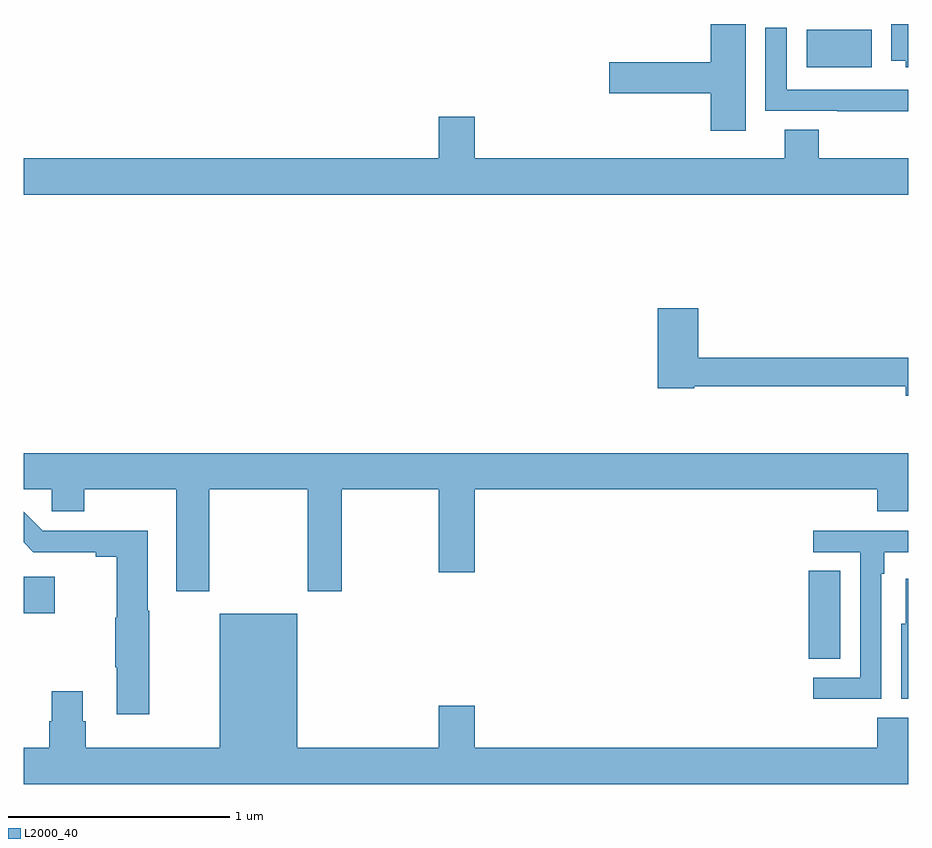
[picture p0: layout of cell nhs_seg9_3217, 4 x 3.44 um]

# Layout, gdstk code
import gdstk
lib = gdstk.Library(unit=1e-6, precision=1e-09)
def R(c, l, rs):  # rectangles x0, y0, x1, y1
    for r in rs: c.add(gdstk.rectangle(r[:2], r[2:], *l))
def P(c, l, *ps):  # polygons
    for p in ps: c.add(gdstk.Polygon(p, *l))
L2000_40 = (2000, 40)

nhs_seg9_3217 = lib.new_cell('nhs_seg9_3217')
R(nhs_seg9_3217, L2000_40, [(298.55,1219.63,298.693,1220.027), (295,1219.837,295.141,1220.002), (298.541,1222.304,298.834,1222.474)])
P(nhs_seg9_3217, L2000_40, [(299,1222.5),(298.922,1222.5),(298.922,1222.334),(298.988,1222.334),(298.988,1222.304),(299,1222.304)],
  [(298.264,1222.5),(298.106,1222.5),(298.106,1222.328),(297.648,1222.328),(297.648,1222.186),(298.106,1222.186),(298.106,1222.017),(298.264,1222.017)],
  [(299,1222.203),(298.449,1222.203),(298.449,1222.483),(298.353,1222.483),(298.353,1222.107),(298.678,1222.107),(298.678,1222.106),(299,1222.106)],
  [(299,1221.892),(298.595,1221.892),(298.595,1222.022),(298.442,1222.022),(298.442,1221.892),(297.04,1221.892),(297.04,1222.081),(296.876,1222.081),(296.876,1221.892),(295,1221.892),(295,1221.728),(299,1221.728)],
  [(299,1220.99),(298.049,1220.99),(298.049,1221.214),(297.866,1221.214),(297.866,1220.854),(298.032,1220.854),(298.032,1220.862),(298.988,1220.862),(298.988,1220.819),(299,1220.819)],
  [(295.839,1220.396),(296.284,1220.396),(296.284,1219.935),(296.439,1219.935),(296.439,1220.396),(296.876,1220.396),(296.876,1220.022),(297.04,1220.022),(297.04,1220.396),(298.859,1220.396),(298.859,1220.297),(299,1220.297),(299,1220.56),(295,1220.56),(295,1220.396),(295.128,1220.396),(295.128,1220.298),(295.275,1220.298),(295.275,1220.396),(295.691,1220.396),(295.691,1219.935),(295.839,1219.935)],
  [(295.569,1219.847),(295.561,1219.847),(295.561,1220.21),(295.325,1220.21),(295.325,1220.208),(295.086,1220.208),(295,1220.294),(295,1220.156),(295.044,1220.112),(295.325,1220.112),(295.325,1220.092),(295.421,1220.092),(295.421,1219.815),(295.414,1219.815),(295.414,1219.592),(295.421,1219.592),(295.421,1219.38),(295.569,1219.38)],
  [(298.878,1220.015),(298.891,1220.015),(298.891,1220.112),(299,1220.112),(299,1220.208),(298.569,1220.208),(298.569,1220.112),(298.782,1220.112),(298.782,1219.545),(298.569,1219.545),(298.569,1219.449),(298.878,1219.449)],
  [(299,1219.993),(298.988,1219.993),(298.988,1219.788),(298.967,1219.788),(298.967,1219.449),(299,1219.449)],
  [(299,1219.363),(298.859,1219.363),(298.859,1219.228),(297.04,1219.228),(297.04,1219.417),(296.876,1219.417),(296.876,1219.228),(296.236,1219.228),(296.236,1219.834),(295.886,1219.834),(295.886,1219.228),(295.28,1219.228),(295.28,1219.347),(295.267,1219.347),(295.267,1219.483),(295.127,1219.483),(295.127,1219.347),(295.115,1219.347),(295.115,1219.228),(295,1219.228),(295,1219.064),(299,1219.064)])

lib.write_gds('nhs_seg9_3217.gds')
